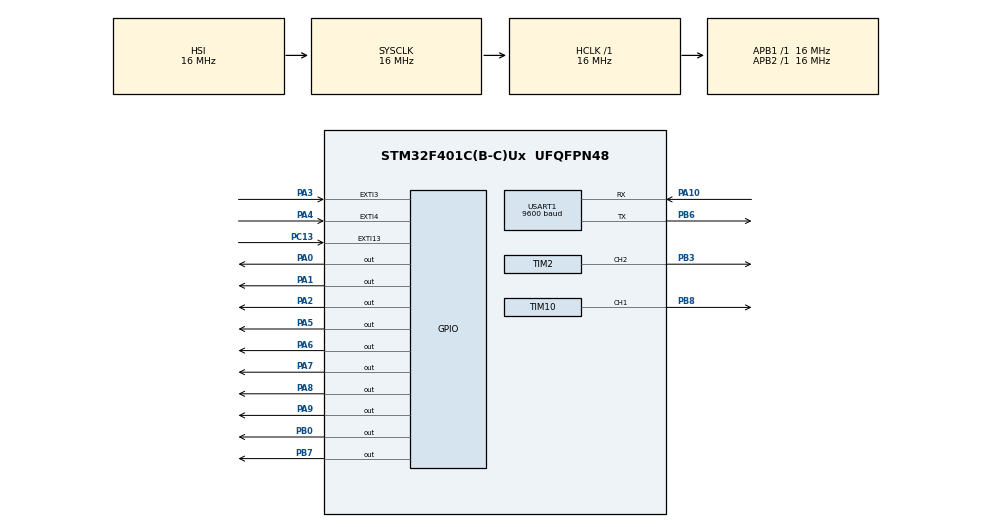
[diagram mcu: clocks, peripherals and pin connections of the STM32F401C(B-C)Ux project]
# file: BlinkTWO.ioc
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Mcu.Family=STM32F4
Mcu.Name=STM32F401C(B-C)Ux
Mcu.Package=UFQFPN48
NVIC.EXTI3_IRQn=true\:0\:0\:false\:false\:true\:true\:true\:true
NVIC.EXTI4_IRQn=true\:0\:0\:false\:false\:true\:true\:true\:true
NVIC.FLASH_IRQn=true\:0\:0\:false\:false\:true\:true\:true\:true
NVIC.PVD_IRQn=true\:0\:0\:false\:false\:true\:true\:true\:true
NVIC.PriorityGroup=NVIC_PRIORITYGROUP_4
NVIC.RCC_IRQn=true\:0\:0\:false\:false\:true\:true\:false\:true
NVIC.TIM2_IRQn=true\:0\:0\:false\:false\:true\:true\:true\:true
NVIC.USART1_IRQn=true\:0\:0\:false\:false\:true\:true\:true\:true
PA0-WKUP.PinState=GPIO_PIN_RESET
PA0-WKUP.Signal=GPIO_Output
PA1.PinState=GPIO_PIN_RESET
PA1.Signal=GPIO_Output
PA10.Mode=Asynchronous
PA10.Signal=USART1_RX
PA2.PinState=GPIO_PIN_SET
PA2.Signal=GPIO_Output
PA3.GPIO_ModeDefaultEXTI=GPIO_MODE_IT_RISING_FALLING
PA3.GPIO_PuPd=GPIO_NOPULL
PA3.Signal=GPXTI3
PA4.GPIO_ModeDefaultEXTI=GPIO_MODE_IT_FALLING
PA4.GPIO_PuPd=GPIO_PULLDOWN
PA4.Signal=GPXTI4
PA5.Signal=GPIO_Output
PA6.Signal=GPIO_Output
PA7.Signal=GPIO_Output
PA8.Signal=GPIO_Output
PA9.Signal=GPIO_Output
PB0.PinState=GPIO_PIN_RESET
PB0.Signal=GPIO_Output
PB3.Signal=S_TIM2_CH2
PB6.Mode=Asynchronous
PB6.Signal=USART1_TX
PB7.PinState=GPIO_PIN_RESET
PB7.Signal=GPIO_Output
PB8.Signal=S_TIM10_CH1
PC13-ANTI_TAMP.GPIO_ModeDefaultEXTI=GPIO_MODE_IT_RISING_FALLING
PC13-ANTI_TAMP.Signal=GPXTI13
PC14-OSC32_IN.Mode=LSE-External-Oscillator
PC14-OSC32_IN.Signal=RCC_OSC32_IN
PC15-OSC32_OUT.Mode=LSE-External-Oscillator
PC15-OSC32_OUT.Signal=RCC_OSC32_OUT
PH0\ -\ OSC_IN.Mode=HSE-External-Oscillator
PH0\ -\ OSC_IN.Signal=RCC_OSC_IN
PH1\ -\ OSC_OUT.Mode=HSE-External-Oscillator
PH1\ -\ OSC_OUT.Signal=RCC_OSC_OUT
ProjectManager.HeapSize=0x200
ProjectManager.StackSize=0x400
ProjectManager.TargetToolchain=STM32CubeIDE
RCC.48MHZClocksFreq_Value=48000000
RCC.AHBFreq_Value=16000000
RCC.APB1Freq_Value=16000000
RCC.APB1TimFreq_Value=16000000
RCC.APB2Freq_Value=16000000
RCC.APB2TimFreq_Value=16000000
RCC.CortexFreq_Value=16000000
RCC.HCLKFreq_Value=16000000
RCC.HSE_VALUE=25000000
RCC.HSI_VALUE=16000000
RCC.SYSCLKFreq_VALUE=16000000
RCC.VCOOutputFreq_Value=192000000
SH.S_TIM10_CH1.0=TIM10_CH1,PWM Generation1 CH1
SH.S_TIM2_CH2.0=TIM2_CH2,PWM Generation2 CH2
TIM1.Prescaler=16-1
TIM10.Channel=TIM_CHANNEL_1
TIM10.Period=100-1
TIM10.Prescaler=16-1
TIM11.AutoReloadPreload=TIM_AUTORELOAD_PRELOAD_ENABLE
TIM11.Prescaler=16-1
TIM2.AutoReloadPreload=TIM_AUTORELOAD_PRELOAD_ENABLE
TIM2.Channel-PWM\ Generation2\ CH2=TIM_CHANNEL_2
TIM2.Period=28-1
TIM2.Prescaler=16-1
TIM2.Pulse-PWM\ Generation2\ CH2=7
TIM3.AutoReloadPreload=TIM_AUTORELOAD_PRELOAD_ENABLE
TIM3.Prescaler=16-1
USART1.BaudRate=9600
USART1.VirtualMode=VM_ASYNC
VP_TIM10_VS_ClockSourceINT.Mode=Enable_Timer
VP_TIM11_VS_ClockSourceINT.Mode=Enable_Timer
VP_TIM1_VS_ClockSourceINT.Mode=Internal
VP_TIM3_VS_ClockSourceINT.Mode=Internal
board=custom

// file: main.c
/* USER CODE BEGIN Header */
/**
  ******************************************************************************
  * @file           : main.c
  * @brief          : Main program body
  ******************************************************************************
  * @attention
  *
  * Copyright (c) 2023 STMicroelectronics.
  * All rights reserved.
  *
  * This software is licensed under terms that can be found in the LICENSE file
  * in the root directory of this software component.
  * If no LICENSE file comes with this software, it is provided AS-IS.
  *
  ******************************************************************************
  */
/* USER CODE END Header */
#include "main.h"

/* USER CODE BEGIN PM */
#define IR_1 HAL_TIM_PWM_Start(&htim2, TIM_CHANNEL_2);delay(20000);HAL_TIM_PWM_Stop(&htim2, TIM_CHANNEL_2);delay(10000);
#define IR_0 HAL_TIM_PWM_Start(&htim2, TIM_CHANNEL_2);delay(10000);HAL_TIM_PWM_Stop(&htim2, TIM_CHANNEL_2);delay(10000);
/* USER CODE END PM */

TIM_HandleTypeDef htim1;
TIM_HandleTypeDef htim2;
TIM_HandleTypeDef htim3;
TIM_HandleTypeDef htim10;
TIM_HandleTypeDef htim11;

UART_HandleTypeDef huart1;

void SystemClock_Config(void);
static void MX_GPIO_Init(void);
static void MX_TIM1_Init(void);
static void MX_TIM11_Init(void);
static void MX_USART1_UART_Init(void);
static void MX_TIM10_Init(void);
static void MX_TIM2_Init(void);
static void MX_TIM3_Init(void);
/* USER CODE BEGIN PFP */
void UART_SendNumber(uint16_t A_u32Number);
void delay(uint16_t time );
void trigg(void );
uint8_t TimStr='-';
/* USER CODE END PFP */

/* USER CODE BEGIN 0 */
volatile  uint8_t   Counter = 0 ;
volatile  uint8_t    Number = 0 ;
volatile uint16_t	  temp,Start_temp;
volatile int Temp_Arr [8];
/* USER CODE END 0 */

int main(void)
{

  /* MCU Configuration--------------------------------------------------------*/

  /* Reset of all peripherals, Initializes the Flash interface and the Systick. */
  HAL_Init();

  /* Configure the system clock */
  SystemClock_Config();

  /* Initialize all configured peripherals */
  MX_GPIO_Init();
  MX_TIM1_Init();
  MX_TIM11_Init();
  MX_USART1_UART_Init();
  MX_TIM10_Init();
  MX_TIM2_Init();
  MX_TIM3_Init();
  /* USER CODE BEGIN 2 */
HAL_TIM_Base_Start(&htim11);
HAL_TIM_Base_Start(&htim1);
HAL_TIM_Base_Start(&htim3);
uint16_t Tim ;

uint16_t Tim2;
uint8_t Str = '-';
#define TAG for (int i = 0 ; i <=10; i++){HAL_UART_Transmit(&huart1, &TimStr, sizeof(TimStr), 50);}
uint8_t u8_Speed = 50;
HAL_UART_Transmit(&huart1, &Str, sizeof(TimStr), 50);
TIM10->CCR1 =u8_Speed;
	  HAL_TIM_PWM_Start(&htim2, TIM_CHANNEL_2);delay(65535);HAL_TIM_PWM_Stop(&htim2, TIM_CHANNEL_2); HAL_Delay(100);

	  HAL_TIM_PWM_Start(&htim2, TIM_CHANNEL_2);delay(20000);HAL_TIM_PWM_Stop(&htim2, TIM_CHANNEL_2); HAL_Delay(100);
	  HAL_TIM_PWM_Start(&htim2, TIM_CHANNEL_2);delay(65535);HAL_TIM_PWM_Stop(&htim2, TIM_CHANNEL_2); HAL_Delay(100);
	  HAL_TIM_PWM_Start(&htim2, TIM_CHANNEL_2);delay(20000);HAL_TIM_PWM_Stop(&htim2, TIM_CHANNEL_2); HAL_Delay(100);
	  HAL_TIM_PWM_Start(&htim2, TIM_CHANNEL_2);delay(20000);HAL_TIM_PWM_Stop(&htim2, TIM_CHANNEL_2); HAL_Delay(100);
	  HAL_TIM_PWM_Start(&htim2, TIM_CHANNEL_2);delay(20000);HAL_TIM_PWM_Stop(&htim2, TIM_CHANNEL_2); HAL_Delay(100);
	  HAL_TIM_PWM_Start(&htim2, TIM_CHANNEL_2);delay(20000);HAL_TIM_PWM_Stop(&htim2, TIM_CHANNEL_2); HAL_Delay(100);
	  HAL_TIM_PWM_Start(&htim2, TIM_CHANNEL_2);delay(20000);HAL_TIM_PWM_Stop(&htim2, TIM_CHANNEL_2); HAL_Delay(100);

	  HAL_Delay(1000);

  /* USER CODE END 2 */

  /* Infinite loop */
  /* USER CODE BEGIN WHILE */
  while (1)
 {

	  if (u8_Speed >=100){u8_Speed =100;}if(u8_Speed <=10){u8_Speed =10;}

	  HAL_UART_Receive(&huart1, &Str, sizeof(Str), 50);

	if (Str != 'T'){

		  if(Str == 'F'){
			  HAL_GPIO_WritePin(GPIOA, GPIO_PIN_5, GPIO_PIN_SET);
			  HAL_GPIO_WritePin(GPIOA, GPIO_PIN_6, GPIO_PIN_RESET);
			  HAL_GPIO_WritePin(GPIOA, GPIO_PIN_7, GPIO_PIN_SET);
			  HAL_GPIO_WritePin(GPIOA, GPIO_PIN_8, GPIO_PIN_RESET);

		  }
		  else if(Str == 'B'){
		 			  HAL_GPIO_WritePin(GPIOA, GPIO_PIN_5, GPIO_PIN_RESET);
		 			  HAL_GPIO_WritePin(GPIOA, GPIO_PIN_6, GPIO_PIN_SET);
		 			  HAL_GPIO_WritePin(GPIOA, GPIO_PIN_7, GPIO_PIN_RESET);
		 			  HAL_GPIO_WritePin(GPIOA, GPIO_PIN_8, GPIO_PIN_SET);

		 		  }
		  else if(Str == 'L'){
			  	  	  	  	  	  	  HAL_GPIO_WritePin(GPIOA, GPIO_PIN_5, GPIO_PIN_SET);
						 			  HAL_GPIO_WritePin(GPIOA, GPIO_PIN_6, GPIO_PIN_RESET);
						 			  HAL_GPIO_WritePin(GPIOA, GPIO_PIN_7, GPIO_PIN_RESET);
						 			  HAL_GPIO_WritePin(GPIOA, GPIO_PIN_8, GPIO_PIN_RESET);
		 		  }
		  else if(Str == 'R'){
					  	  	  	  	  	  	  HAL_GPIO_WritePin(GPIOA, GPIO_PIN_5, GPIO_PIN_RESET);
								 			  HAL_GPIO_WritePin(GPIOA, GPIO_PIN_6, GPIO_PIN_RESET);
								 			  HAL_GPIO_WritePin(GPIOA, GPIO_PIN_7, GPIO_PIN_SET);
								 			  HAL_GPIO_WritePin(GPIOA, GPIO_PIN_8, GPIO_PIN_RESET);
				 		  }
		  else if(Str == 'W'){
			  u8_Speed+=10;
			  TIM10->CCR1 =u8_Speed;
			  Str ='T';

		 				 		  }
		  else if(Str == 'w'){
		 			  u8_Speed -= 10;
		 			  TIM10->CCR1 =u8_Speed;
		 			 Str ='T';

		 		 				 		  }
//		  else{ HAL_GPIO_WritePin(GPIOA, GPIO_PIN_5, GPIO_PIN_RESET);
//			  HAL_GPIO_WritePin(GPIOA, GPIO_PIN_6, GPIO_PIN_RESET);
//			  HAL_GPIO_WritePin(GPIOA, GPIO_PIN_7, GPIO_PIN_RESET);
//			  HAL_GPIO_WritePin(GPIOA, GPIO_PIN_8, GPIO_PIN_RESET);
//
//		  }

	  }
	else{
		HAL_GPIO_WritePin(GPIOA, GPIO_PIN_5, GPIO_PIN_RESET);
	  HAL_GPIO_WritePin(GPIOA, GPIO_PIN_6, GPIO_PIN_RESET);
	  HAL_GPIO_WritePin(GPIOA, GPIO_PIN_7, GPIO_PIN_RESET);
	  HAL_GPIO_WritePin(GPIOA, GPIO_PIN_8, GPIO_PIN_RESET);
	  Str ='T';}

//if (__HAL_TIM_GET_COUNTER(&htim11) -Tim >= 10000)
//{
//Tim2++;
//
//Tim = __HAL_TIM_GET_COUNTER(&htim11);
//}
//if (Tim2 ==100){
//HAL_GPIO_TogglePin(GPIOB, GPIO_PIN_7);
//Tim2=0;
//
//}
    /* USER CODE END WHILE */

  }
}

void SystemClock_Config(void)
{
  RCC_OscInitTypeDef RCC_OscInitStruct = {0};
  RCC_ClkInitTypeDef RCC_ClkInitStruct = {0};

  /** Configure the main internal regulator output voltage
  */
  __HAL_RCC_PWR_CLK_ENABLE();
  __HAL_PWR_VOLTAGESCALING_CONFIG(PWR_REGULATOR_VOLTAGE_SCALE2);

  /** Initializes the RCC Oscillators according to the specified parameters
  * in the RCC_OscInitTypeDef structure.
  */
  RCC_OscInitStruct.OscillatorType = RCC_OSCILLATORTYPE_HSI;
  RCC_OscInitStruct.HSIState = RCC_HSI_ON;
  RCC_OscInitStruct.HSICalibrationValue = RCC_HSICALIBRATION_DEFAULT;
  RCC_OscInitStruct.PLL.PLLState = RCC_PLL_NONE;
  if (HAL_RCC_OscConfig(&RCC_OscInitStruct) != HAL_OK)
  {
    Error_Handler();
  }

  /** Initializes the CPU, AHB and APB buses clocks
  */
  RCC_ClkInitStruct.ClockType = RCC_CLOCKTYPE_HCLK|RCC_CLOCKTYPE_SYSCLK
                              |RCC_CLOCKTYPE_PCLK1|RCC_CLOCKTYPE_PCLK2;
  RCC_ClkInitStruct.SYSCLKSource = RCC_SYSCLKSOURCE_HSI;
  RCC_ClkInitStruct.AHBCLKDivider = RCC_SYSCLK_DIV1;
  RCC_ClkInitStruct.APB1CLKDivider = RCC_HCLK_DIV1;
  RCC_ClkInitStruct.APB2CLKDivider = RCC_HCLK_DIV1;

  if (HAL_RCC_ClockConfig(&RCC_ClkInitStruct, FLASH_LATENCY_0) != HAL_OK)
  {
    Error_Handler();
  }
}

static void MX_TIM1_Init(void)
{

  TIM_ClockConfigTypeDef sClockSourceConfig = {0};
  TIM_MasterConfigTypeDef sMasterConfig = {0};

  htim1.Instance = TIM1;
  htim1.Init.Prescaler = 16-1;
  htim1.Init.CounterMode = TIM_COUNTERMODE_UP;
  htim1.Init.Period = 65535;
  htim1.Init.ClockDivision = TIM_CLOCKDIVISION_DIV1;
  htim1.Init.RepetitionCounter = 0;
  htim1.Init.AutoReloadPreload = TIM_AUTORELOAD_PRELOAD_DISABLE;
  if (HAL_TIM_Base_Init(&htim1) != HAL_OK)
  {
    Error_Handler();
  }
  sClockSourceConfig.ClockSource = TIM_CLOCKSOURCE_INTERNAL;
  if (HAL_TIM_ConfigClockSource(&htim1, &sClockSourceConfig) != HAL_OK)
  {
    Error_Handler();
  }
  sMasterConfig.MasterOutputTrigger = TIM_TRGO_RESET;
  sMasterConfig.MasterSlaveMode = TIM_MASTERSLAVEMODE_DISABLE;
  if (HAL_TIMEx_MasterConfigSynchronization(&htim1, &sMasterConfig) != HAL_OK)
  {
    Error_Handler();
  }

}

static void MX_TIM2_Init(void)
{

  TIM_MasterConfigTypeDef sMasterConfig = {0};
  TIM_OC_InitTypeDef sConfigOC = {0};

  htim2.Instance = TIM2;
  htim2.Init.Prescaler = 16-1;
  htim2.Init.CounterMode = TIM_COUNTERMODE_UP;
  htim2.Init.Period = 28-1;
  htim2.Init.ClockDivision = TIM_CLOCKDIVISION_DIV1;
  htim2.Init.AutoReloadPreload = TIM_AUTORELOAD_PRELOAD_ENABLE;
  if (HAL_TIM_PWM_Init(&htim2) != HAL_OK)
  {
    Error_Handler();
  }
  sMasterConfig.MasterOutputTrigger = TIM_TRGO_RESET;
  sMasterConfig.MasterSlaveMode = TIM_MASTERSLAVEMODE_DISABLE;
  if (HAL_TIMEx_MasterConfigSynchronization(&htim2, &sMasterConfig) != HAL_OK)
  {
    Error_Handler();
  }
  sConfigOC.OCMode = TIM_OCMODE_PWM1;
  sConfigOC.Pulse = 7;
  sConfigOC.OCPolarity = TIM_OCPOLARITY_HIGH;
  sConfigOC.OCFastMode = TIM_OCFAST_DISABLE;
  if (HAL_TIM_PWM_ConfigChannel(&htim2, &sConfigOC, TIM_CHANNEL_2) != HAL_OK)
  {
    Error_Handler();
  }
  HAL_TIM_MspPostInit(&htim2);

}

static void MX_TIM3_Init(void)
{

  TIM_ClockConfigTypeDef sClockSourceConfig = {0};
  TIM_MasterConfigTypeDef sMasterConfig = {0};

  htim3.Instance = TIM3;
  htim3.Init.Prescaler = 16-1;
  htim3.Init.CounterMode = TIM_COUNTERMODE_UP;
  htim3.Init.Period = 65535;
  htim3.Init.ClockDivision = TIM_CLOCKDIVISION_DIV1;
  htim3.Init.AutoReloadPreload = TIM_AUTORELOAD_PRELOAD_ENABLE;
  if (HAL_TIM_Base_Init(&htim3) != HAL_OK)
  {
    Error_Handler();
  }
  sClockSourceConfig.ClockSource = TIM_CLOCKSOURCE_INTERNAL;
  if (HAL_TIM_ConfigClockSource(&htim3, &sClockSourceConfig) != HAL_OK)
  {
    Error_Handler();
  }
  sMasterConfig.MasterOutputTrigger = TIM_TRGO_RESET;
  sMasterConfig.MasterSlaveMode = TIM_MASTERSLAVEMODE_DISABLE;
  if (HAL_TIMEx_MasterConfigSynchronization(&htim3, &sMasterConfig) != HAL_OK)
  {
    Error_Handler();
  }

}

static void MX_TIM10_Init(void)
{

  TIM_OC_InitTypeDef sConfigOC = {0};

  htim10.Instance = TIM10;
  htim10.Init.Prescaler = 16-1;
  htim10.Init.CounterMode = TIM_COUNTERMODE_UP;
  htim10.Init.Period = 100-1;
  htim10.Init.ClockDivision = TIM_CLOCKDIVISION_DIV1;
  htim10.Init.AutoReloadPreload = TIM_AUTORELOAD_PRELOAD_DISABLE;
  if (HAL_TIM_Base_Init(&htim10) != HAL_OK)
  {
    Error_Handler();
  }
  if (HAL_TIM_PWM_Init(&htim10) != HAL_OK)
  {
    Error_Handler();
  }
  sConfigOC.OCMode = TIM_OCMODE_PWM1;
  sConfigOC.Pulse = 0;
  sConfigOC.OCPolarity = TIM_OCPOLARITY_HIGH;
  sConfigOC.OCFastMode = TIM_OCFAST_DISABLE;
  if (HAL_TIM_PWM_ConfigChannel(&htim10, &sConfigOC, TIM_CHANNEL_1) != HAL_OK)
  {
    Error_Handler();
  }
  HAL_TIM_MspPostInit(&htim10);

}

static void MX_TIM11_Init(void)
{

  htim11.Instance = TIM11;
  htim11.Init.Prescaler = 16-1;
  htim11.Init.CounterMode = TIM_COUNTERMODE_UP;
  htim11.Init.Period = 65535;
  htim11.Init.ClockDivision = TIM_CLOCKDIVISION_DIV1;
  htim11.Init.AutoReloadPreload = TIM_AUTORELOAD_PRELOAD_ENABLE;
  if (HAL_TIM_Base_Init(&htim11) != HAL_OK)
  {
    Error_Handler();
  }

}

static void MX_USART1_UART_Init(void)
{

  huart1.Instance = USART1;
  huart1.Init.BaudRate = 9600;
  huart1.Init.WordLength = UART_WORDLENGTH_8B;
  huart1.Init.StopBits = UART_STOPBITS_1;
  huart1.Init.Parity = UART_PARITY_NONE;
  huart1.Init.Mode = UART_MODE_TX_RX;
  huart1.Init.HwFlowCtl = UART_HWCONTROL_NONE;
  huart1.Init.OverSampling = UART_OVERSAMPLING_16;
  if (HAL_UART_Init(&huart1) != HAL_OK)
  {
    Error_Handler();
  }

}

static void MX_GPIO_Init(void)
{
  GPIO_InitTypeDef GPIO_InitStruct = {0};

  /* GPIO Ports Clock Enable */
  __HAL_RCC_GPIOC_CLK_ENABLE();
  __HAL_RCC_GPIOH_CLK_ENABLE();
  __HAL_RCC_GPIOA_CLK_ENABLE();
  __HAL_RCC_GPIOB_CLK_ENABLE();

  /*Configure GPIO pin Output Level */
  HAL_GPIO_WritePin(GPIOA, GPIO_PIN_0|GPIO_PIN_1|GPIO_PIN_5|GPIO_PIN_6
                          |GPIO_PIN_7|GPIO_PIN_8|GPIO_PIN_9, GPIO_PIN_RESET);

  /*Configure GPIO pin Output Level */
  HAL_GPIO_WritePin(GPIOA, GPIO_PIN_2, GPIO_PIN_SET);

  /*Configure GPIO pin Output Level */
  HAL_GPIO_WritePin(GPIOB, GPIO_PIN_0|GPIO_PIN_7, GPIO_PIN_RESET);

  /*Configure GPIO pin : PC13 */
  GPIO_InitStruct.Pin = GPIO_PIN_13;
  GPIO_InitStruct.Mode = GPIO_MODE_IT_RISING_FALLING;
  GPIO_InitStruct.Pull = GPIO_NOPULL;
  HAL_GPIO_Init(GPIOC, &GPIO_InitStruct);

  /*Configure GPIO pins : PA0 PA1 PA2 PA5
                           PA6 PA7 PA8 PA9 */
  GPIO_InitStruct.Pin = GPIO_PIN_0|GPIO_PIN_1|GPIO_PIN_2|GPIO_PIN_5
                          |GPIO_PIN_6|GPIO_PIN_7|GPIO_PIN_8|GPIO_PIN_9;
  GPIO_InitStruct.Mode = GPIO_MODE_OUTPUT_PP;
  GPIO_InitStruct.Pull = GPIO_NOPULL;
  GPIO_InitStruct.Speed = GPIO_SPEED_FREQ_LOW;
  HAL_GPIO_Init(GPIOA, &GPIO_InitStruct);

  /*Configure GPIO pin : PA3 */
  GPIO_InitStruct.Pin = GPIO_PIN_3;
  GPIO_InitStruct.Mode = GPIO_MODE_IT_RISING_FALLING;
  GPIO_InitStruct.Pull = GPIO_NOPULL;
  HAL_GPIO_Init(GPIOA, &GPIO_InitStruct);

  /*Configure GPIO pin : PA4 */
  GPIO_InitStruct.Pin = GPIO_PIN_4;
  GPIO_InitStruct.Mode = GPIO_MODE_IT_FALLING;
  GPIO_InitStruct.Pull = GPIO_PULLDOWN;
  HAL_GPIO_Init(GPIOA, &GPIO_InitStruct);

  /*Configure GPIO pins : PB0 PB7 */
  GPIO_InitStruct.Pin = GPIO_PIN_0|GPIO_PIN_7;
  GPIO_InitStruct.Mode = GPIO_MODE_OUTPUT_PP;
  GPIO_InitStruct.Pull = GPIO_NOPULL;
  GPIO_InitStruct.Speed = GPIO_SPEED_FREQ_LOW;
  HAL_GPIO_Init(GPIOB, &GPIO_InitStruct);

  /* EXTI interrupt init*/
  HAL_NVIC_SetPriority(EXTI3_IRQn, 0, 0);
  HAL_NVIC_EnableIRQ(EXTI3_IRQn);

  HAL_NVIC_SetPriority(EXTI4_IRQn, 0, 0);
  HAL_NVIC_EnableIRQ(EXTI4_IRQn);

}

/* USER CODE BEGIN 4 */
uint32_t Cap1=0;uint32_t Cap2=0; uint32_t Def=0;uint8_t FirestCap=0;uint32_t Dis=0;

//void HAL_TIM_IC_CaptureCallback(TIM_HandleTypeDef *htim)
//{
//
//if (htim -> Channel == HAL_TIM_ACTIVE_CHANNEL_1){
//
//if (FirestCap == 0){
//		Cap1= HAL_TIM_ReadCapturedValue(&htim1, TIM_CHANNEL_1);
//		FirestCap =1;
//		__HAL_TIM_SET_CAPTUREPOLARITY(&htim1 ,TIM_CHANNEL_1 ,TIM_INPUTCHANNELPOLARITY_FALLING);
//}
//else if (FirestCap == 1)
//	{
//		Cap2= 	 HAL_TIM_ReadCapturedValue(&htim1, TIM_CHANNEL_1);
//		__HAL_TIM_SET_COUNTER(&htim1 , 0);
//
//	if ( Cap2	>	Cap1 )
//	{
//		Def = Cap2-Cap1;
//
//	}
//	else if (Cap2<Cap1){
//	Def = (0xffff - Cap1)-Cap2;
//
//
//	}
//	Dis =(Def * .034/2);
//
//	UART_SendNumber(Dis);
//	HAL_UART_Transmit(&huart1, &TimStr, sizeof (TimStr), 50);
//UART_SendNumber(Def);
//HAL_UART_Transmit(&huart1, &TimStr, sizeof (TimStr), 50);
//if (Dis < 70){HAL_GPIO_TogglePin(GPIOA, GPIO_PIN_1);}
//Dis =0;
//
//	FirestCap = 0;
//	__HAL_TIM_SET_CAPTUREPOLARITY(&htim1 ,TIM_CHANNEL_1 ,TIM_INPUTCHANNELPOLARITY_RISING);
//	__HAL_TIM_DISABLE_IT(&htim1, TIM_IT_CC1);
//	}
//}
//}
//
//

void delay(uint16_t time )
{
__HAL_TIM_SET_COUNTER(&htim3 , 0);
while (__HAL_TIM_GET_COUNTER(&htim3) < time ){     __NOP();}
}

void HAL_GPIO_EXTI_Callback(uint16_t GPIO_Pin)
{
uint8_t Enter [] = "\n\r";
uint8_t END_OF_FRAME [] = "END_OF_FRAME\n\r";
uint8_t ERORR [] = "ERORR\n\r";
uint8_t The_Number [] = "The Number is  = \n\r";
  if(GPIO_Pin == GPIO_PIN_3) {

	  if (HAL_GPIO_ReadPin(GPIOA, GPIO_PIN_3) == GPIO_PIN_RESET){
		  temp = __HAL_TIM_GET_COUNTER(&htim11);
	  }
	  else if (HAL_GPIO_ReadPin(GPIOA, GPIO_PIN_3) == GPIO_PIN_SET){

	  		temp -= __HAL_TIM_GET_COUNTER(&htim11);
	  		__HAL_TIM_SET_COUNTER(&htim11 , 0);

	Temp_Arr [Counter] =	temp ;

	 Counter ++;

	  if (temp > 30000 && temp < 55000){

		  Number &= ~(1 <<( Counter-1));
	  }
	  else if (temp > 60000){
		  Number |= 1 << (Counter-1);

	  }
	  else {

		  Temp_Arr [Counter-1] =0;
	  	  }

	  if (Counter >= 8){

		  HAL_UART_Transmit(&huart1, The_Number, sizeof(The_Number), 50);
		  UART_SendNumber(Number);
		  HAL_UART_Transmit(&huart1, Enter, sizeof(Enter), 50);

		  Number = 0 ;
		  Counter = 0;

for (int v = 0 ;v <=7; v++ ){

	UART_SendNumber(Temp_Arr[v]);
	 HAL_UART_Transmit(&huart1, Enter, sizeof(Enter), 50);
}
HAL_UART_Transmit(&huart1, END_OF_FRAME, sizeof(END_OF_FRAME), 50);
	  }
	  }
  }

   else {
      __NOP();
  }

}
void IR_Send (uint8_t DATA){

}
void UART_SendNumber(uint16_t A_s32Number)
{
	uint8_t L_u8Digits[10] = {0, 0,'\0'};
	uint8_t L_u8Counter = 0;
	uint8_t Arr[6];
	uint8_t Zero = '0';
	if (A_s32Number == 0 ){HAL_UART_Transmit(&huart1, &Zero , sizeof(Zero), 5); return;}
	while(A_s32Number > 0)
	{
		L_u8Digits[L_u8Counter] = A_s32Number%10 ;
		L_u8Counter++;
		A_s32Number /= 10 ;

	}

	/* print array in reverese  */
	for(int8_t L_s8PrintIndex=L_u8Counter-1; L_s8PrintIndex >= 0; L_s8PrintIndex-- )
	{
		Arr[L_u8Counter-L_s8PrintIndex] = '0'+ L_u8Digits[L_s8PrintIndex];
		HAL_UART_Transmit(&huart1, &Arr[L_u8Counter-L_s8PrintIndex] , sizeof(Arr[L_u8Counter-L_s8PrintIndex]), 5);

	}
return ;
}
/* USER CODE END 4 */

void Error_Handler(void)
{
  __disable_irq();
  while (1)
  {
  }
}
